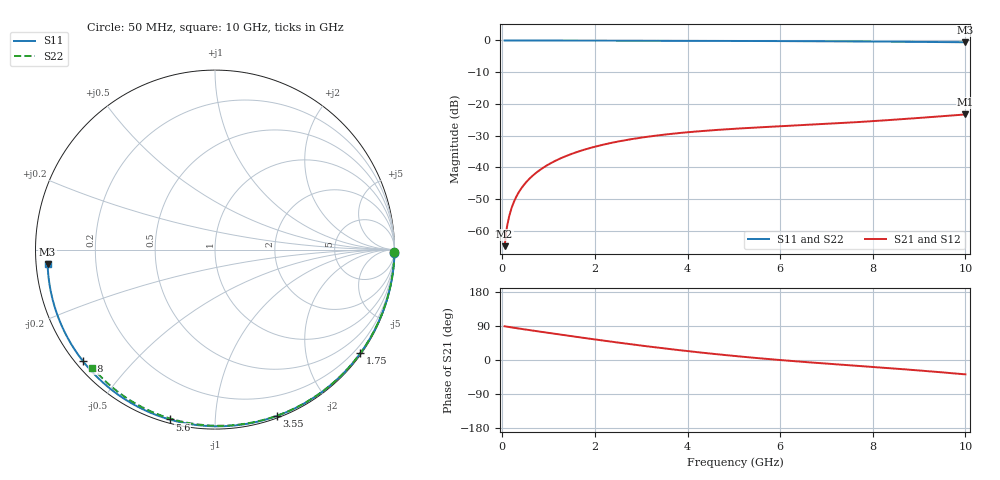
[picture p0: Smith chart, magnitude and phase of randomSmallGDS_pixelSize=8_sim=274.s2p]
! freq	dB(S11)	phase(S11)	dB(S12)	phase(S12)
!  dB(S21)	phase(S21)	dB(S22)	phase(S22)
!S-par simulation data
#  GHz  S  DB  R 50
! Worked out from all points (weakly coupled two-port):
!   200 points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, 50 MHz to 10 GHz, reference 50 ohm
!   highest |S21| = -23.31 dB at 10 GHz (marker M1); lowest = -64.8 dB at 50 MHz (marker M2)
!   lowest |S11| = -0.6 dB at 10 GHz (marker M3), VSWR 30.44, Z = 1.65 - j2.17 ohm
!   |S11| at or under -10 dB: nowhere
!   |S22| runs from -0.5 to 0.0 dB; largest |S21 - S12| = 0
!   S11 on the Smith chart (normalised r, x): 50 MHz: open; 1.75 GHz: 0.03, -3.12; 3.55 GHz: 0.02, -1.44; 5.6 GHz: 0.02, -0.77; 7.8 GHz: 0.02, -0.36; 10 GHz: 0.03, -0.04
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0.05  -0.00 -1.0  -64.79 89.0  -64.79 89.0  -0.00 -0.8
0.1  -0.00 -2.1  -58.78 88.0  -58.78 88.0  -0.00 -1.6
0.15  -0.00 -3.1  -55.26 87.0  -55.26 87.0  -0.00 -2.4
0.2  -0.00 -4.1  -52.78 86.0  -52.78 86.0  -0.00 -3.2
0.25  -0.00 -5.2  -50.85 85.1  -50.85 85.1  -0.00 -4.0
0.35  -0.01 -7.2  -47.96 83.2  -47.96 83.2  -0.00 -5.6
0.5  -0.01 -10.3  -44.90 80.4  -44.90 80.4  -0.01 -8.0
0.7  -0.02 -14.4  -42.04 76.9  -42.04 76.9  -0.01 -11.2
1  -0.03 -20.5  -39.04 71.5  -39.04 71.5  -0.02 -15.9
1.35  -0.04 -27.6  -36.56 65.4  -36.56 65.4  -0.03 -21.4
1.75  -0.05 -35.5  -34.49 58.5  -34.49 58.5  -0.04 -27.6
2.6  -0.07 -52.0  -31.56 44.4  -31.56 44.4  -0.06 -40.6
3.4  -0.09 -66.9  -29.83 32.0  -29.83 32.0  -0.07 -52.4
3.55  -0.10 -69.7  -29.57 29.8  -29.57 29.8  -0.08 -54.6
4.3  -0.12 -83.0  -28.54 19.5  -28.54 19.5  -0.10 -65.3
5.05  -0.15 -95.9  -27.79 10.2  -27.79 10.2  -0.12 -75.6
5.6  -0.18 -105.0  -27.33 4.1  -27.33 4.1  -0.14 -82.9
6.7  -0.24 -122.7  -26.51 -6.8  -26.51 -6.8  -0.19 -97.0
7.8  -0.33 -139.9  -25.60 -16.6  -25.60 -16.6  -0.26 -110.4
8.35  -0.38 -148.5  -25.07 -21.5  -25.07 -21.5  -0.30 -117.0
9.2  -0.47 -162.0  -24.19 -29.6  -24.19 -29.6  -0.38 -126.9
10  -0.57 -175.0  -23.31 -37.9  -23.31 -37.9  -0.47 -136.1
